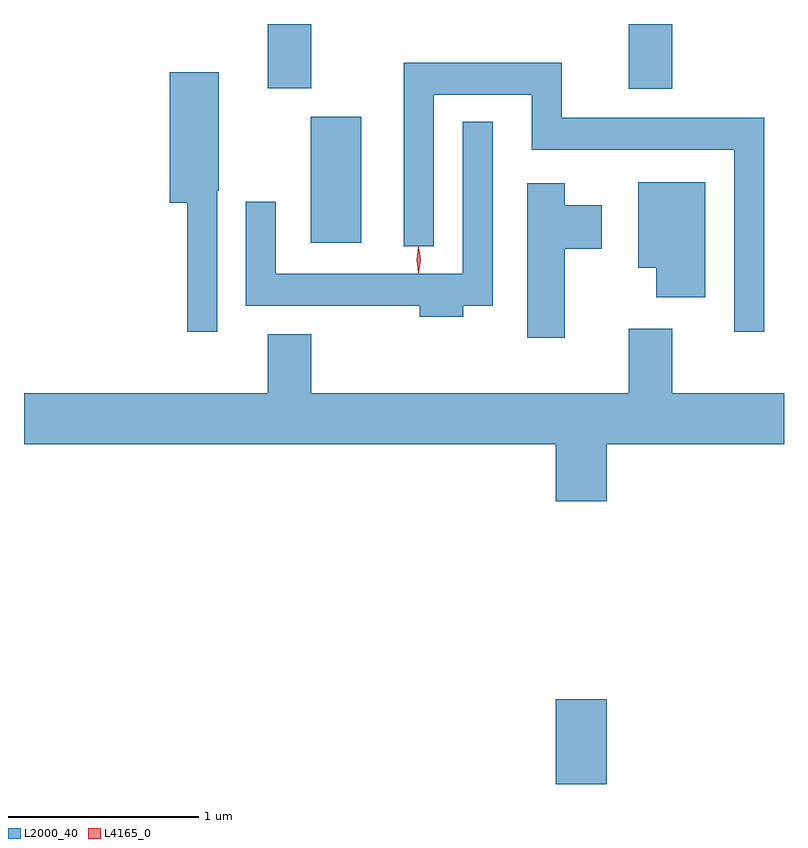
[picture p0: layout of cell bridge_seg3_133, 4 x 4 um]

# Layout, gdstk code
import gdstk
lib = gdstk.Library(unit=1e-6, precision=1e-09)
def R(c, l, rs):  # rectangles x0, y0, x1, y1
    for r in rs: c.add(gdstk.rectangle(r[:2], r[2:], *l))
def P(c, l, *ps):  # polygons
    for p in ps: c.add(gdstk.Polygon(p, *l))
L2000_40 = (2000, 40)
L4165_0 = (4165, 0)

bridge_seg3_133 = lib.new_cell('bridge_seg3_133')
R(bridge_seg3_133, L2000_40, [(874.416,1186.388,874.684,1186.834), (873.126,1189.236,873.394,1189.899), (874.801,1190.046,875.029,1190.388), (872.901,1190.051,873.129,1190.388)])
P(bridge_seg3_133, L2000_40, [(875.514,1189.894),(874.449,1189.894),(874.449,1190.184),(873.616,1190.184),(873.616,1189.218),(873.774,1189.218),(873.774,1190.016),(874.291,1190.016),(874.291,1189.726),(875.356,1189.726),(875.356,1188.768),(875.514,1188.768)],
  [(872.634,1189.51),(872.644,1189.51),(872.644,1190.134),(872.386,1190.134),(872.386,1189.446),(872.476,1189.446),(872.476,1188.768),(872.634,1188.768)],
  [(873.929,1188.906),(874.084,1188.906),(874.084,1189.873),(873.926,1189.873),(873.926,1189.074),(872.944,1189.074),(872.944,1189.453),(872.786,1189.453),(872.786,1188.906),(873.701,1188.906),(873.701,1188.846),(873.929,1188.846)],
  [(875.204,1189.554),(874.851,1189.554),(874.851,1189.106),(874.946,1189.106),(874.946,1188.951),(875.204,1188.951)],
  [(874.464,1189.206),(874.659,1189.206),(874.659,1189.434),(874.464,1189.434),(874.464,1189.549),(874.266,1189.549),(874.266,1188.736),(874.464,1188.736)],
  [(874.684,1188.176),(875.618,1188.176),(875.618,1188.444),(875.029,1188.444),(875.029,1188.784),(874.801,1188.784),(874.801,1188.444),(873.129,1188.444),(873.129,1188.754),(872.901,1188.754),(872.901,1188.444),(871.618,1188.444),(871.618,1188.176),(874.416,1188.176),(874.416,1187.876),(874.684,1187.876)])
P(bridge_seg3_133, L4165_0, [(873.695,1189.077),(873.694,1189.078),(873.685,1189.146),(873.694,1189.216),(873.695,1189.216),(873.695,1189.216),(873.705,1189.146),(873.695,1189.078)],
  [(873.695,1189.079),(873.694,1189.08),(873.685,1189.146),(873.694,1189.212),(873.695,1189.213),(873.695,1189.212),(873.705,1189.146),(873.695,1189.08)])

lib.write_gds('bridge_seg3_133.gds')
